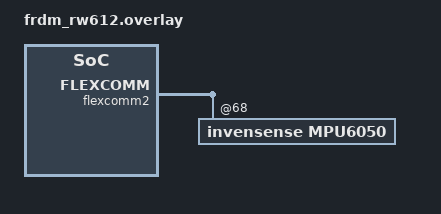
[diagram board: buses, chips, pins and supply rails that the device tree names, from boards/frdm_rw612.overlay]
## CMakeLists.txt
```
# SPDX-License-Identifier: Apache-2.0

cmake_minimum_required(VERSION 3.20.0)

find_package(Zephyr REQUIRED HINTS $ENV{ZEPHYR_BASE})
project(mqtt_tls_over_wifi)

FILE(GLOB app_sources src/*.c)
target_sources(app PRIVATE ${app_sources})
```

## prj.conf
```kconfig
CONFIG_EARLY_CONSOLE=y

CONFIG_NETWORKING=y
CONFIG_NET_SOCKETS=y

CONFIG_MAIN_STACK_SIZE=5200
CONFIG_SHELL_STACK_SIZE=5200
CONFIG_NET_TX_STACK_SIZE=2048
CONFIG_NET_RX_STACK_SIZE=2048

CONFIG_NET_PKT_RX_COUNT=10
CONFIG_NET_PKT_TX_COUNT=10
CONFIG_NET_BUF_RX_COUNT=20
CONFIG_NET_BUF_TX_COUNT=20
CONFIG_NET_MAX_CONTEXTS=10
CONFIG_NET_TCP=y
CONFIG_NET_LOG=y
CONFIG_INIT_STACKS=y

CONFIG_NET_IPV6_RA_RDNSS=y
CONFIG_NET_IF_UNICAST_IPV6_ADDR_COUNT=3
CONFIG_NET_IF_MCAST_IPV6_ADDR_COUNT=2

CONFIG_PRINTK=y
CONFIG_STDOUT_CONSOLE=y
CONFIG_POSIX_API=y

# Enable IPv6 support
CONFIG_NET_IPV6=n
# Enable IPv4 support
CONFIG_NET_IPV4=y

CONFIG_NET_DHCPV4=y

CONFIG_NET_CONFIG_SETTINGS=n
CONFIG_NET_CONFIG_MY_IPV6_ADDR="2001:db8::1"
CONFIG_NET_CONFIG_PEER_IPV6_ADDR="2001:db8::2"

CONFIG_NET_CONFIG_MY_IPV4_ADDR="192.168.50.100"
CONFIG_NET_CONFIG_PEER_IPV4_ADDR="192.168.50.160"

CONFIG_MAIN_STACK_SIZE=2048

# For IPv6
CONFIG_NET_BUF_DATA_SIZE=256
CONFIG_NET_SHELL=y

CONFIG_NET_STATISTICS=y
CONFIG_NET_STATISTICS_PERIODIC_OUTPUT=n

CONFIG_ENTROPY_GENERATOR=y
CONFIG_TEST_RANDOM_GENERATOR=y

# MQTT
CONFIG_MQTT_LIB=y
CONFIG_MQTT_CLEAN_SESSION=y

CONFIG_WIFI=y
CONFIG_WIFI_LOG_LEVEL_ERR=y
CONFIG_NET_L2_WIFI_SHELL=y

CONFIG_NET_MGMT_EVENT_QUEUE_TIMEOUT=5000
CONFIG_NET_MGMT_EVENT_QUEUE_SIZE=16
```

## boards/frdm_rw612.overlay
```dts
/*
 * Copyright (c) 2025 Ac6
 *
 * SPDX-License-Identifier: Apache-2.0
 */

&flexcomm2 {
	mpu6050@68 {
		compatible = "invensense,mpu6050";
		reg = <0x68>;
		status = "okay";
	};
};
```

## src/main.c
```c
/*
 * Copyright (c) 2025 Ac6.
 *
 * SPDX-License-Identifier: Apache-2.0
 */
#include <zephyr/logging/log.h>
LOG_MODULE_REGISTER(mqtt_over_wifi, LOG_LEVEL_DBG);

#include <stdio.h>
#include "wifi.h"
#include "mqtt.h"

int main(void)
{
	int status = 0;
	LOG_INF("MQTT over Wi-Fi demonstration on [%s]\n", CONFIG_BOARD_TARGET);

	status = wifi_auto_connect();
	if(status < 0) {
		LOG_ERR("Cannot connect to Wi-Fi\n");
		return -1;
	}

	status = start_mqtt_app();
	if(status < 0) {
		LOG_ERR("Cannot start mqtt application\n");
		return -1;
	}

	return 0;
}
```

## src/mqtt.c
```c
/*
 * Copyright (c) 2025 Ac6.
 *
 * SPDX-License-Identifier: Apache-2.0
 */
#include <zephyr/logging/log.h>
LOG_MODULE_DECLARE(mqtt_over_wifi);

#include <zephyr/kernel.h>
#include <zephyr/net/socket.h>
#include <zephyr/random/random.h>

#include <string.h>
#include <errno.h>

#include "mqtt.h"

#if defined(USERSPACE)
#include <zephyr/app_memory/app_memdomain.h>
K_APPMEM_PARTITION_DEFINE(app_partition);
struct k_mem_domain app_domain;
#define APP_BMEM K_APP_BMEM(app_partition)
#define APP_DMEM K_APP_DMEM(app_partition)
#else
#define APP_BMEM
#define APP_DMEM
#endif

/* Buffers for MQTT client. */
static uint8_t rx_buffer[MQTT_MESSAGE_BUFFER_SIZE];
static uint8_t tx_buffer[MQTT_MESSAGE_BUFFER_SIZE];
static uint8_t payload_buf[MQTT_PAYLOAD_BUFFER_SIZE];

/* The mqtt client struct */
static APP_BMEM struct mqtt_client client;
/* File descriptor */
static APP_BMEM struct pollfd fds[1];
/* MQTT Broker details. */
static struct sockaddr_storage broker;

/**@brief Function to get the payload of recived data.
 */
static int get_received_payload(struct mqtt_client *c, size_t length)
{
	int ret;
	int err = 0;

	/* Return an error if the payload is larger than the payload buffer.
	 * Note: To allow new messages, we have to read the payload before returning.
	 */
	if (length > sizeof(payload_buf)) {
		err = -EMSGSIZE;
	}

	/* Truncate payload until it fits in the payload buffer. */
	while (length > sizeof(payload_buf)) {
		ret = mqtt_read_publish_payload_blocking(
				c, payload_buf, (length - sizeof(payload_buf)));
		if (ret == 0) {
			return -EIO;
		} else if (ret < 0) {
			return ret;
		}

		length -= ret;
	}

	ret = mqtt_readall_publish_payload(c, payload_buf, length);
	if (ret) {
		return ret;
	}

	return err;
}

/**@brief Function to print strings without null-termination
 */
static void data_print(uint8_t *prefix, uint8_t *data, size_t len)
{
	char buf[len + 1];

	memcpy(buf, data, len);
	buf[len] = 0;
	LOG_INF("%s%s", (char *)prefix, (char *)buf);
}

int data_publish(enum mqtt_qos qos,
	uint8_t *data, size_t len)
{
	struct mqtt_publish_param param;

	param.message.topic.qos = qos;
	param.message.topic.topic.utf8 = MQTT_PUB_TOPIC;
	param.message.topic.topic.size = strlen(MQTT_PUB_TOPIC);
	param.message.payload.data = data;
	param.message.payload.len = len;
	param.message_id = sys_rand32_get();
	param.dup_flag = 0;
	param.retain_flag = 0;

	data_print("Publishing: ", data, len);
	LOG_INF("to topic: %s len: %u",
		MQTT_PUB_TOPIC,
		(unsigned int)strlen(MQTT_PUB_TOPIC));

	return mqtt_publish(&client, &param);
}

static const uint8_t* client_id_get(void)
{
	static uint8_t client_id[MAX(sizeof(MQTT_CLIENT_ID),
				     CLIENT_ID_LEN)];

	if (strlen(MQTT_CLIENT_ID) > 0) {
		snprintf(client_id, sizeof(client_id), "%s",
			 MQTT_CLIENT_ID);
		goto exit;
	}

	uint32_t id = sys_rand32_get();
	snprintf(client_id, sizeof(client_id), "%s-%010u", CONFIG_BOARD, id);

exit:
	LOG_DBG("client_id = %s", (char *)client_id);

	return client_id;
}

void mqtt_evt_handler(struct mqtt_client *const c,
		      const struct mqtt_evt *evt)
{
	int err;

	switch (evt->type) {
	case MQTT_EVT_CONNACK:
		if (evt->result != 0) {
			LOG_ERR("MQTT connect failed: %d", evt->result);
			break;
		}

		LOG_INF("MQTT client connected");
		break;

	case MQTT_EVT_DISCONNECT:
		LOG_INF("MQTT client disconnected: %d", evt->result);
		break;

	case MQTT_EVT_PUBLISH:
	{
		const struct mqtt_publish_param *p = &evt->param.publish;
		/* Print the length of the recived message */
		LOG_INF("MQTT PUBLISH result=%d len=%d",
			evt->result, p->message.payload.len);

		/* Extract the data of the recived message */
		err = get_received_payload(c, p->message.payload.len);
		
		/* Send acknowledgment to the broker on receiving QoS1 publish message */
		if (p->message.topic.qos == MQTT_QOS_1_AT_LEAST_ONCE) {
			const struct mqtt_puback_param ack = {
				.message_id = p->message_id
			};

			mqtt_publish_qos1_ack(c, &ack);
		}

		if (err >= 0) {
			data_print("Received: ", payload_buf, p->message.payload.len);
		// Payload buffer is smaller than the received data 
		} else if (err == -EMSGSIZE) {
			LOG_ERR("Received payload (%d bytes) is larger than the payload buffer size (%d bytes).",
				p->message.payload.len, sizeof(payload_buf));
		// Failed to extract data, disconnect 
		} else {
			LOG_ERR("get_received_payload failed: %d", err);
			LOG_INF("Disconnecting MQTT client...");

			err = mqtt_disconnect(c);
			if (err) {
				LOG_ERR("Could not disconnect: %d", err);
			}
		}
	} break;

	case MQTT_EVT_PUBACK:
		if (evt->result != 0) {
			LOG_ERR("MQTT PUBACK error: %d", evt->result);
			break;
		}

		LOG_INF("PUBACK packet id: %u", evt->param.puback.message_id);
		break;

	case MQTT_EVT_SUBACK:
		if (evt->result != 0) {
			LOG_ERR("MQTT SUBACK error: %d", evt->result);
			break;
		}

		LOG_INF("SUBACK packet id: %u", evt->param.suback.message_id);
		break;

	case MQTT_EVT_PINGRESP:
		if (evt->result != 0) {
			LOG_ERR("MQTT PINGRESP error: %d", evt->result);
		}
		break;

	default:
		LOG_INF("Unhandled MQTT event type: %d", evt->type);
		break;
	}
}

static void broker_init(void)
{
#if defined(NET_IPV6)
	struct sockaddr_in6 *broker6 = (struct sockaddr_in6 *)&broker;

	broker6->sin6_family = AF_INET6;
	broker6->sin6_port = htons(MQTT_BROKER_PORT);
	inet_pton(AF_INET6, SERVER_ADDR, &broker6->sin6_addr);

#if defined(SOCKS)
	struct sockaddr_in6 *proxy6 = (struct sockaddr_in6 *)&socks5_proxy;

	proxy6->sin6_family = AF_INET6;
	proxy6->sin6_port = htons(SOCKS5_PROXY_PORT);
	inet_pton(AF_INET6, SOCKS5_PROXY_ADDR, &proxy6->sin6_addr);
#endif
#else
	struct sockaddr_in *broker4 = (struct sockaddr_in *)&broker;

	broker4->sin_family = AF_INET;
	broker4->sin_port = htons(MQTT_BROKER_PORT);
	inet_pton(AF_INET, SERVER_ADDR, &broker4->sin_addr);
#if defined(SOCKS)
	struct sockaddr_in *proxy4 = (struct sockaddr_in *)&socks5_proxy;

	proxy4->sin_family = AF_INET;
	proxy4->sin_port = htons(SOCKS5_PROXY_PORT);
	inet_pton(AF_INET, SOCKS5_PROXY_ADDR, &proxy4->sin_addr);
#endif
#endif
}

static void client_init(struct mqtt_client *client)
{
	mqtt_client_init(client);

	broker_init();

	/* MQTT client configuration */
	client->broker = &broker;
	client->evt_cb = mqtt_evt_handler;
	client->client_id.utf8 = client_id_get();
	client->client_id.size = strlen(client->client_id.utf8);
	client->password = NULL;
	client->user_name = NULL;
	client->protocol_version = MQTT_VERSION_3_1_1;

	/* MQTT buffers configuration */
	client->rx_buf = rx_buffer;
	client->rx_buf_size = sizeof(rx_buffer);
	client->tx_buf = tx_buffer;
	client->tx_buf_size = sizeof(tx_buffer);

	/* MQTT transport configuration */
	client->transport.type = MQTT_TRANSPORT_NON_SECURE;

#if defined(SOCKS)
	mqtt_client_set_proxy(client, &socks5_proxy,
			      socks5_proxy.sa_family == AF_INET ?
			      sizeof(struct sockaddr_in) :
			      sizeof(struct sockaddr_in6));
#endif
}

static int fds_init(struct mqtt_client *client)
{
	if (client->transport.type == MQTT_TRANSPORT_NON_SECURE) {
		fds[0].fd = client->transport.tcp.sock;
	} else {
		return -ENOTSUP;
	}

	fds[0].events = POLLIN;
	return 0;
}

int start_mqtt_app(void)
{
	int err;
	uint32_t connect_attempt = 0;

	client_init(&client);

do_connect:
	if (connect_attempt++ > 0) {
		LOG_INF("Reconnecting in %d seconds...", MQTT_RECONNECT_DELAY);
		k_sleep(K_SECONDS(MQTT_RECONNECT_DELAY));
	}
	err = mqtt_connect(&client);
	if (err) {
		LOG_ERR("Error in mqtt_connect: %d", err);
		goto do_connect;
	}

	err = fds_init(&client);
	if (err) {
		LOG_ERR("Error in fds_init: %d", err);
		return -2;
	}

	while (1) {
		err = poll(fds, 1, mqtt_keepalive_time_left(&client));
		if (err < 0) {
			LOG_ERR("Error in poll(): %d", errno);
			break;
		}

		err = mqtt_live(&client);
		if ((err != 0) && (err != -EAGAIN)) {
			LOG_ERR("Error in mqtt_live: %d", err);
			break;
		}

		if ((fds[0].revents & POLLIN) == POLLIN) {
			err = mqtt_input(&client);
			if (err != 0) {
				LOG_ERR("Error in mqtt_input: %d", err);
				break;
			}
		}

		if ((fds[0].revents & POLLERR) == POLLERR) {
			LOG_ERR("POLLERR");
			break;
		}

		if ((fds[0].revents & POLLNVAL) == POLLNVAL) {
			LOG_ERR("POLLNVAL");
			break;
		}

		data_publish(MQTT_QOS_1_AT_LEAST_ONCE, MQTT_PUB_MESSAGE, sizeof(MQTT_PUB_MESSAGE));
		k_sleep(K_SECONDS(2));
	}

	LOG_INF("Disconnecting MQTT client");

	err = mqtt_disconnect(&client);
	if (err) {
		LOG_ERR("Could not disconnect MQTT client: %d", err);
	}
	goto do_connect;
}
```

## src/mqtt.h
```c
/*
 * Copyright (c) 2025 Ac6.
 *
 * SPDX-License-Identifier: Apache-2.0
 */
#ifndef __MQTT_H
#define __MQTT_H

#include <zephyr/net/mqtt.h>

#define MQTT_MESSAGE_BUFFER_SIZE 	128
#define MQTT_PAYLOAD_BUFFER_SIZE 	128

#define MQTT_PUB_TOPIC 				"topic"
#define MQTT_PUB_MESSAGE 			"message from frdm-rw612"
#define MQTT_BROKER_HOSTNAME 		"localhost"

#define MQTT_CLIENT_ID 				"frdm-rw612"
#define MQTT_BROKER_PORT 			1883
#define MQTT_RECONNECT_DELAY 		30

#define SERVER_ADDR 				"192.168.1.1"
#define RANDOM_LEN 					10
#define CLIENT_ID_LEN 				sizeof(CONFIG_BOARD) + 1 + RANDOM_LEN

int start_mqtt_app(void);

int data_publish(enum mqtt_qos qos, uint8_t *data, size_t len);

#endif
```

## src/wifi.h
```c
/*
 * Copyright (c) 2025 Ac6.
 *
 * SPDX-License-Identifier: Apache-2.0
 */
#ifndef __WIFI_H
#define __WIFI_H

#define WIFI_CONNECT_SSID 			    "FRDM-IMX93"
#define WIFI_CONNECT_SSID_PSK		    "ac6-formation"
#define WIFI_CONNECT_SSID_SECURITY	    WIFI_SECURITY_TYPE_PSK

int wifi_auto_connect(void);

#endif
```
